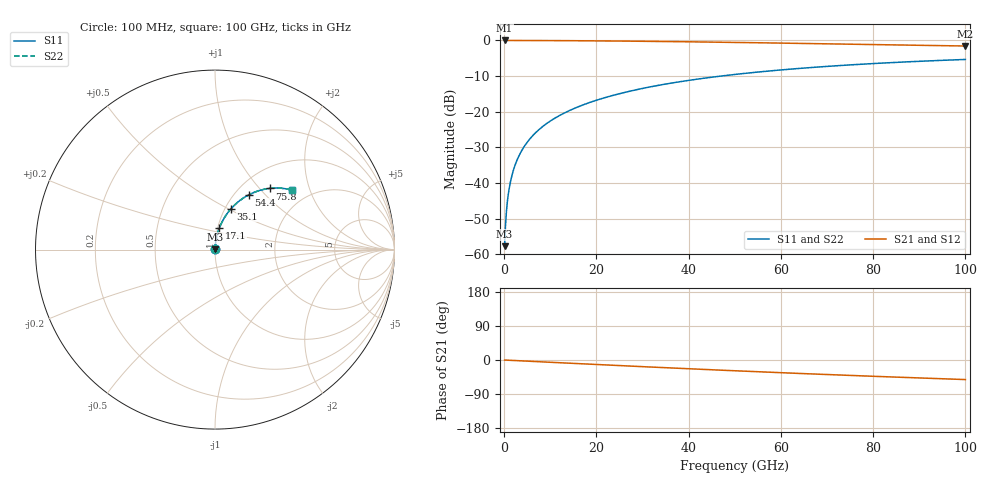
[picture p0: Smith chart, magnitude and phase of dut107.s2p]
! Touchstone file exported from HFSS 2026.1.0
!  File:  C:/ffzhzh/LocalFiles/Ansys_Project_Files/temp_train_RDL_107_1783499223_55944.aedt
!  Generated:  04:28:08 PM Jul  8, 2026
!  Design:  RDL
!  Project:  temp_train_RDL_107_1783499223_55944
! Variables:
!  h_bsmrdl = 2um
!  h_ox = 20um
!  h_rdl = 5um
!  h_sub = 80um
!  h_tmrdl = 2.79um
!  h_tsv = 80um
!  h_via = 3um
!  l_bsmrdl = 300um
!  l_sub = 510.54um
!  l_tmrdl = 110.54um
!  m_sub = 200um
!  pitch = 51.97um
!  r_tsv = 6um
!  s_tmrdl = 10um
!  w_bsmrdl = 18um
!  w_sub = 500um
!  w_tmrdl = 18.3um
!  x_tsv_center1 = 119.69um
!  x_tsv_center2 = 437.69um
!  x_tsv_center3 = 566.53um
!  x_tsv_center4 = 884.53um
!  x_tsv_center5 = 1013.37um
!  x_tsv_center6 = 1331.37um
# GHz S MA R 50.000000
! Terminal data exported
! Port[1] = TM_RDL1_1_T1
! Port[2] = TM_RDL1_1_T2
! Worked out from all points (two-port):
!   1000 points, 100 MHz to 100 GHz, reference 50 ohm
!   highest |S21| = -0.01 dB at 100 MHz (marker M1); lowest = -1.6 dB at 100 GHz (marker M2)
!   |S21| within 3 dB of the highest: start of sweep to end of sweep
!   lowest |S11| = -57.7 dB at 100 MHz (marker M3), VSWR 1.00, Z = 50.1 + j0.0793 ohm
!   |S11| at or under -10 dB: start of sweep to 46.97 GHz
!   |S22| runs from -57.7 to -5.3 dB; largest |S21 - S12| = 7.3e-15
!   S11 on the Smith chart (normalised r, x): 100 MHz: 1.00, +0.00; 17.1 GHz: 1.02, +0.25; 35.1 GHz: 1.07, +0.52; 54.4 GHz: 1.16, +0.81; 75.8 GHz: 1.32, +1.14; 100 GHz: 1.62, +1.51
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0.1  0.001303 37.4  0.999 -0.1  0.999 -0.1  0.001303 37.4
! Gamma 0 0 0 0
! Port Impedance 50 0 50 0
0.3  0.00259 65.1  0.9989 -0.2  0.9989 -0.2  0.00259 65.1
0.9  0.006963 79.4  0.9988 -0.6  0.9988 -0.6  0.006963 79.4
1.2  0.009172 81.4  0.9987 -0.7  0.9987 -0.7  0.009172 81.4
1.5  0.01139 82.7  0.9987 -0.9  0.9987 -0.9  0.01139 82.7
2  0.0151 83.8  0.9986 -1.2  0.9986 -1.2  0.0151 83.8
2.5  0.01882 84.4  0.9985 -1.5  0.9985 -1.5  0.01882 84.4
4  0.02996 84.8  0.9981 -2.4  0.9981 -2.4  0.02996 84.8
6.1  0.04549 84.2  0.9973 -3.7  0.9973 -3.7  0.04549 84.2
8.9  0.06602 82.9  0.9958 -5.4  0.9958 -5.4  0.06602 82.9
12.4  0.09135 81.0  0.9933 -7.4  0.9933 -7.4  0.09135 81.0
16.8  0.1226 78.6  0.9894 -10.0  0.9894 -10.0  0.1226 78.6
17.1  0.1247 78.4  0.9891 -10.2  0.9891 -10.2  0.1247 78.4
24.4  0.1751 74.4  0.9808 -14.4  0.9808 -14.4  0.1751 74.4
33.4  0.2343 69.5  0.9679 -19.5  0.9679 -19.5  0.2343 69.5
35.1  0.245 68.6  0.9651 -20.4  0.9651 -20.4  0.245 68.6
50.1  0.3338 60.7  0.9376 -28.5  0.9376 -28.5  0.3338 60.7
54.4  0.357 58.5  0.9289 -30.7  0.9289 -30.7  0.357 58.5
66.7  0.4177 52.5  0.9031 -36.8  0.9031 -36.8  0.4177 52.5
75.8  0.4571 48.2  0.8838 -41.1  0.8838 -41.1  0.4571 48.2
83.4  0.4866 44.8  0.8679 -44.5  0.8679 -44.5  0.4866 44.8
100  0.5409 37.8  0.8352 -51.6  0.8352 -51.6  0.5409 37.8
